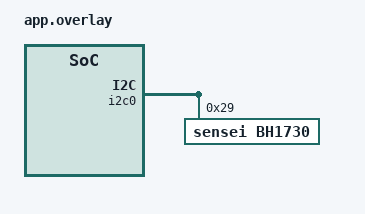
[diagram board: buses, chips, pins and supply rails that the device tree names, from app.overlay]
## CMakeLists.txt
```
# SPDX-FileCopyrightText: 2026 ETH Zurich and University of Bologna
# SPDX-License-Identifier: Apache-2.0
#
# Authors:
# - Philip Wiese <wiesep@iis.ee.ethz.ch>

cmake_minimum_required(VERSION 3.20.0)

find_package(Zephyr REQUIRED HINTS $ENV{ZEPHYR_BASE})
project(sensei_bh1730_test)

target_sources(app PRIVATE src/main.c src/emul_bh1730.c)
target_include_directories(app PRIVATE src)
```

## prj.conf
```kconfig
# SPDX-FileCopyrightText: 2026 ETH Zurich and University of Bologna
# SPDX-License-Identifier: Apache-2.0

CONFIG_ZTEST=y
CONFIG_I2C=y
CONFIG_I2C_EMUL=y
CONFIG_EMUL=y
CONFIG_SENSOR=y
CONFIG_PM_DEVICE=y
CONFIG_PM_DEVICE_RUNTIME=y
CONFIG_BH1730_SENSEI=y
```

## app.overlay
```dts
/*
 * SPDX-FileCopyrightText: 2026 ETH Zurich and University of Bologna
 * SPDX-License-Identifier: Apache-2.0
 *
 * Authors:
 * - Philip Wiese <wiesep@iis.ee.ethz.ch>
 */

/* The BH1730 as on the sensor shield: address 0x29, gain x64, integration time 51 ms, no rail switch. */

&i2c0 {
	bh1730: bh1730@29 {
		compatible = "sensei,bh1730";
		reg = <0x29>;
		gain = <2>;
		itime = <0xED>;
	};
};
```

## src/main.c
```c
/*
 * SPDX-FileCopyrightText: 2026 ETH Zurich and University of Bologna
 * SPDX-License-Identifier: Apache-2.0
 *
 * Authors:
 * - Philip Wiese <wiesep@iis.ee.ethz.ch>
 */

/* BH1730 driver (NRF/drivers/sensor/bh1730) against the I2C emulator in emul_bh1730.c: sensor API, split API,
 * lux conversion against the datasheet formula, power-down between measurements, probe and re-probe.
 *
 * The driver keeps some state for good (chip found), so the tests run in name order and the first ones need a
 * driver that has not found the chip yet. */

#include <zephyr/device.h>
#include <zephyr/drivers/i2c.h>
#include <zephyr/drivers/sensor.h>
#include <zephyr/kernel.h>
#include <zephyr/pm/device_runtime.h>
#include <zephyr/ztest.h>

#include <sensei/drivers/bh1730.h>

#include "emul_bh1730.h"

#define ITIME 0xED /* devicetree: 51 ms */
#define GAIN_X 64  /* devicetree gain = 2 */

static const struct device *const dev = DEVICE_DT_GET(DT_NODELABEL(bh1730));
static struct bh1730_emul *em;

static void *setup(void) {
  em = bh1730_emul_get();
  zassert_true(device_is_ready(dev));
  return NULL;
}

static void before(void *f) {
  ARG_UNUSED(f);
  bh1730_emul_reset();
}

/* Every test ends with the sensor in power down (POWER bit 0). */
static void after(void *f) {
  ARG_UNUSED(f);
  zassert_equal(bh1730_emul_control() & 0x01, 0, "POWER bit cleared at the end of a test");
}

/* Lux as the datasheet (page 13) computes it, floating point. */
static double ds_lux(uint16_t d0, uint16_t d1, int gain, int itime) {
  double itime_ms = 2.8e-3 * 964 * (256 - itime);
  double r = d0 ? (double)d1 / d0 : 9;
  double x;

  if (d0 == 0) {
    return 0;
  }
  if (r < 0.26) {
    x = 1.290 * d0 - 2.733 * d1;
  } else if (r < 0.55) {
    x = 0.795 * d0 - 0.859 * d1;
  } else if (r < 1.09) {
    x = 0.510 * d0 - 0.345 * d1;
  } else if (r < 2.13) {
    x = 0.276 * d0 - 0.130 * d1;
  } else {
    return 0;
  }
  return x > 0 ? x / gain * 102.6 / itime_ms : 0;
}

/* The emulator itself: it follows the datasheet. (Raw I2C, not the driver.) */
ZTEST(sensei_bh1730, test_00_emulator_self_check) {
  const struct device *i2c = DEVICE_DT_GET(DT_NODELABEL(i2c0));
  uint8_t id = 0, buf[4], one = 0;
  const uint8_t cmd_ctl_write[2] = {0x80, 0x0B}; /* COMMAND = CONTROL, then CONTROL = POWER | ADC_EN | ONE_TIME */
  const uint8_t cmd_data[1] = {0x94};            /* COMMAND = DATA0LOW (datasheet page 12) */
  const uint8_t bad_cmd[1] = {0x08};             /* CMD bit 7 not set */
  const uint8_t bad_addr[1] = {0x8A};            /* register 0x0A does not exist */
  const uint8_t id_cmd[1] = {0x92};
  uint32_t tmt = bh1730_emul_meas_us(0xDA);

  zassert_within(tmt, 104600, 3000, "datasheet table: 104.6 ms typical for ITIME 0xDA");
  zassert_equal(i2c_write_read(i2c, 0x29, id_cmd, 1, &id, 1), 0);
  zassert_equal(id & 0xF0, 0x70, "part number 0111");
  zassert_not_equal(i2c_write(i2c, bad_cmd, 1, 0x29), 0);
  zassert_not_equal(i2c_write(i2c, bad_addr, 1, 0x29), 0);
  zassert_not_equal(i2c_write(i2c, bad_cmd, 1, 0x30), 0, "wrong address");

  zassert_equal(i2c_write(i2c, cmd_ctl_write, 2, 0x29), 0);
  em->data0 = 0x1234;
  em->data1 = 0x0567;
  zassert_equal(bh1730_emul_control() & 0x10, 0, "ADC_VALID is not set before the measurement time is over");
  k_msleep(1000);
  zassert_equal(bh1730_emul_control(), 0x18, "one time: POWER and ADC_EN off, ONE_TIME kept, data valid");
  zassert_equal(i2c_write_read(i2c, 0x29, cmd_data, 1, buf, 4), 0);
  zassert_equal(buf[0], 0x34);
  zassert_equal(buf[1], 0x12);
  zassert_equal(buf[2], 0x67);
  zassert_equal(buf[3], 0x05);
  zassert_equal(bh1730_emul_control() & 0x10, 0, "reading the data clears ADC_VALID");
  zassert_equal(i2c_write(i2c, (const uint8_t[]){0xE4}, 1, 0x29), 0, "software reset");
  zassert_equal(i2c_write_read(i2c, 0x29, (const uint8_t[]){0x81}, 1, &one, 1), 0);
  zassert_equal(one, 0xDA, "TIMING is back to its default");
}

ZTEST(sensei_bh1730, test_01_no_bus_traffic_at_boot) { zassert_equal(em->transfers, 0); }

/* No chip: probe fails and the next try asks again. */
ZTEST(sensei_bh1730, test_02_probe_without_chip) {
  em->present = false;
  zassert_equal(sensei_bh1730_probe(dev), -ENODEV);
  zassert_true(em->transfers > 0);

  int n = em->transfers;

  zassert_equal(pm_device_runtime_get(dev), -ENODEV);
  zassert_true(em->transfers > n, "asked again");
  zassert_equal(sensor_sample_fetch(dev), -ENODEV);
}

/* Something answers, but it is no BH1730 (part number is not 0111). */
ZTEST(sensei_bh1730, test_03_probe_wrong_id) {
  em->part_id = 0x1B;
  zassert_equal(sensei_bh1730_probe(dev), -ENODEV);
}

/* The chip shows up later: found without a reboot, and left in power down. */
ZTEST(sensei_bh1730, test_04_reprobe_finds_chip) {
  em->reg[0] = 0x01; /* it was on */
  zassert_equal(sensei_bh1730_probe(dev), 0);
  zassert_equal(em->reg[0] & 0x01, 0);
  zassert_equal(em->measurements, 0);
}

/* Once found, a second probe does not touch the bus. */
ZTEST(sensei_bh1730, test_05_probe_result_is_kept) {
  zassert_equal(sensei_bh1730_probe(dev), 0);
  zassert_equal(em->transfers, 0);
}

ZTEST(sensei_bh1730, test_06_split_api_needs_power) {
  zassert_equal(sensei_bh1730_start(dev), -ENOTCONN);
  zassert_equal(sensei_bh1730_fetch(dev), -ENOTCONN);
  zassert_equal(em->transfers, 0);
}

/* sensor_sample_fetch: power on, gain and integration time from the devicetree, one-time measurement, read, power
 * down. The lux value is within 3 % of the datasheet formula (the driver library rounds 102.6 to 100). */
ZTEST(sensei_bh1730, test_07_sample_fetch_and_convert) {
  struct sensor_value v;
  double want;

  em->data0 = 1000;
  em->data1 = 200;
  zassert_equal(sensor_sample_fetch(dev), 0);
  zassert_equal(em->measurements, 1);
  zassert_equal(em->reg[0x01], ITIME);
  zassert_equal(em->reg[0x07], 2);
  zassert_equal(em->reg[0x00] & 0x0F, 0x00, "power down at the end");
  /* the control write of the start: POWER | ADC_EN | ONE_TIME */
  bool seen = false;

  for (int i = 0; i < em->n_writes; i++) {
    seen |= em->writes[i] == 0x000B;
  }
  zassert_true(seen, "CONTROL = 0x0B (POWER, ADC_EN, ONE_TIME)");

  zassert_equal(sensor_channel_get(dev, SENSEI_BH1730_CHAN_VIS_RAW, &v), 0);
  zassert_equal(v.val1, 1000);
  zassert_equal(sensor_channel_get(dev, SENSEI_BH1730_CHAN_IR_RAW, &v), 0);
  zassert_equal(v.val1, 200);
  zassert_equal(sensor_channel_get(dev, SENSOR_CHAN_LIGHT, &v), 0);
  want = ds_lux(1000, 200, GAIN_X, ITIME);
  zassert_within((double)v.val1, want, want * 0.03 + 1, "lux %d, datasheet %d", v.val1, (int)want);
  zassert_true(v.val1 > 0);
}

/* The branches of the lux formula (ratio of the two channels): 0.26, 0.55, 1.09 and 2.13 are the limits. */
ZTEST(sensei_bh1730, test_08_lux_ratio_branches) {
  static const struct {
    uint16_t d0, d1;
  } c[] = {
      {20000, 1000},  /* < 0.26 */
      {20000, 8000},  /* < 0.55 */
      {20000, 16000}, /* < 1.09 */
      {20000, 30000}, /* < 2.13 */
      {20000, 42500}, /* 2.125: the last branch is slightly negative, 0 lx */
      {20000, 50000}, /* >= 2.13: 0 lx */
      {0, 0},         /* dark */
      {0, 100},
  };
  struct sensor_value v;

  for (size_t i = 0; i < ARRAY_SIZE(c); i++) {
    double want = ds_lux(c[i].d0, c[i].d1, GAIN_X, ITIME);

    em->data0 = c[i].d0;
    em->data1 = c[i].d1;
    zassert_equal(sensor_sample_fetch(dev), 0);
    zassert_equal(sensor_channel_get(dev, SENSOR_CHAN_LIGHT, &v), 0);
    zassert_within((double)v.val1, want, want * 0.03 + 1, "case %d: lux %d, datasheet %d", (int)i, v.val1, (int)want);
  }
}

/* Bright light at gain x64: counts above about 33000 must not overflow the lux calculation. */
ZTEST(sensei_bh1730, test_09_bright_light) {
  struct sensor_value v;
  double want = ds_lux(40000, 2000, GAIN_X, ITIME);

  em->data0 = 40000;
  em->data1 = 2000;
  zassert_equal(sensor_sample_fetch(dev), 0);
  zassert_equal(sensor_channel_get(dev, SENSOR_CHAN_LIGHT, &v), 0);
  zassert_within((double)v.val1, want, want * 0.03 + 1, "lux %d, datasheet %d", v.val1, (int)want);

  em->data0 = 65535;
  em->data1 = 0;
  want = ds_lux(65535, 0, GAIN_X, ITIME);
  zassert_equal(sensor_sample_fetch(dev), 0);
  zassert_equal(sensor_channel_get(dev, SENSOR_CHAN_LIGHT, &v), 0);
  zassert_within((double)v.val1, want, want * 0.03 + 1, "lux %d, datasheet %d", v.val1, (int)want);
}

/* Split API: the POWER bit follows the reference, start returns the wait, the result is not there before. */
ZTEST(sensei_bh1730, test_10_split_api_timing) {
  struct sensor_value v;
  int ms;

  em->data0 = 500;
  em->data1 = 100;
  zassert_equal(pm_device_runtime_get(dev), 0);
  zassert_equal(em->reg[0] & 0x01, 0x01, "POWER set");
  ms = sensei_bh1730_start(dev);
  zassert_true(ms >= (int)(bh1730_emul_meas_us(ITIME) / 1000), "start() returns %d ms, the sensor needs %d", ms,
               (int)(bh1730_emul_meas_us(ITIME) / 1000));
  zassert_equal(sensei_bh1730_fetch(dev), -EBUSY);
  k_msleep(ms);
  zassert_equal(sensei_bh1730_fetch(dev), 0);
  zassert_equal(sensor_channel_get(dev, SENSEI_BH1730_CHAN_VIS_RAW, &v), 0);
  zassert_equal(v.val1, 500);
  /* the read cleared ADC_VALID: there is nothing new */
  zassert_equal(sensei_bh1730_fetch(dev), -EBUSY);
  zassert_equal(pm_device_runtime_put(dev), 0);
  zassert_equal(em->reg[0] & 0x01, 0x00, "POWER cleared");
}

ZTEST(sensei_bh1730, test_11_unsupported_channels) {
  struct sensor_value v;

  zassert_equal(sensor_sample_fetch_chan(dev, SENSOR_CHAN_PRESS), -ENOTSUP);
  zassert_equal(em->transfers, 0);
  zassert_equal(sensor_channel_get(dev, SENSOR_CHAN_PRESS, &v), -ENOTSUP);
  zassert_equal(sensor_sample_fetch_chan(dev, SENSEI_BH1730_CHAN_IR_RAW), 0);
}

ZTEST(sensei_bh1730, test_12_bus_error) {
  zassert_equal(pm_device_runtime_get(dev), 0);
  zassert_true(sensei_bh1730_start(dev) > 0);
  k_msleep(200);
  em->fail_after = em->transfers;
  zassert_equal(sensei_bh1730_fetch(dev), -EIO);
  zassert_equal(sensei_bh1730_start(dev), -EIO);
  em->fail_after = -1;
  zassert_equal(sensei_bh1730_fetch(dev), 0);
  zassert_equal(pm_device_runtime_put(dev), 0);
}

/* A measurement that never ends: timeout, and the sensor is powered down again. */
ZTEST(sensei_bh1730, test_13_timeout) {
  em->never_valid = true;
  zassert_equal(sensor_sample_fetch(dev), -ETIMEDOUT);
}

ZTEST_SUITE(sensei_bh1730, NULL, setup, before, after, NULL);
```

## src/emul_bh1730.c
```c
/*
 * SPDX-FileCopyrightText: 2026 ETH Zurich and University of Bologna
 * SPDX-License-Identifier: Apache-2.0
 *
 * Authors:
 * - Philip Wiese <wiesep@iis.ee.ethz.ch>
 */

/* I2C emulator of the ROHM BH1730FVC (address 0x29), for the driver "sensei,bh1730".
 *
 * Follows the ROHM datasheet TSZ02201-0M3M0F616050-1-2, Rev.001 (8 Jun 2016): page 7 measurement procedure
 * (power down after power supply; POWER and ADC_EN start a measurement; ONE_TIME ends it in power down),
 * page 8 command set (COMMAND byte: bit 7 = 1, bits 6:5 = 00 register address, 11 special command; invalid
 * addresses must not be used) and register addresses, page 9 CONTROL and TIMING (integration time
 * ITIME_ms = Tint * 964 * (256 - ITIME), measurement time Tmt = ITIME_ms + Tint * 714, Tint = 2.8 us typical),
 * page 10 INTERRUPT, thresholds and GAIN, page 11 PART_ID (0111xxxx) and data registers, page 12 measurement
 * sequence (COMMAND, then CONTROL; COMMAND with the address of DATA0LOW, then four bytes).
 * Registers are read and written with the address counting up after every byte (the sequence on page 12).
 * Modelled: ADC_VALID is set when the measurement time is over and cleared when a data register is read; with
 * ONE_TIME the sensor goes to power down after the measurement (POWER and ADC_EN read back 0; the data stay
 * readable: an interpretation of "ADC transits to power down automatically"); the software reset special command
 * (COMMAND 0xE4). The result registers hold DATA0 and DATA1 from the test controls at the end of a measurement.
 * Not modelled: interrupt function, manual integration mode (ITIME 0), continuous mode restarts. */

#define DT_DRV_COMPAT sensei_bh1730

#include <errno.h>
#include <string.h>
#include <zephyr/device.h>
#include <zephyr/drivers/emul.h>
#include <zephyr/drivers/i2c.h>
#include <zephyr/drivers/i2c_emul.h>
#include <zephyr/kernel.h>

#include "emul_bh1730.h"

BUILD_ASSERT(DT_NUM_INST_STATUS_OKAY(DT_DRV_COMPAT) == 1, "one BH1730 node");

#define REG_CONTROL 0x00
#define REG_TIMING 0x01
#define REG_GAIN 0x07
#define REG_ID 0x12
#define REG_DATA0LOW 0x14
#define REG_DATA1HIGH 0x17
#define CTL_POWER 0x01
#define CTL_ADC_EN 0x02
#define CTL_ONE_TIME 0x08
#define CTL_VALID 0x10
#define TINT_NS 2800

static struct bh1730_emul st;
static uint8_t cur; /* register address of the next byte (counts up) */
static bool measuring;
static int64_t done_at_us;
static bool valid; /* ADC_VALID */
static uint16_t result0, result1;

struct bh1730_emul *bh1730_emul_get(void) { return &st; }

static int64_t now_us(void) { return k_ticks_to_us_floor64(k_uptime_ticks()); }

uint32_t bh1730_emul_meas_us(uint8_t itime) {
  uint64_t itime_ns = (uint64_t)TINT_NS * 964 * (256 - itime);

  return (uint32_t)((itime_ns + (uint64_t)TINT_NS * 714) / 1000);
}

static void regs_reset(void) {
  memset(st.reg, 0, sizeof(st.reg));
  st.reg[REG_TIMING] = 0xDA;
  st.reg[0x05] = 0xFF;
  st.reg[0x06] = 0xFF;
  measuring = false;
  valid = false;
  result0 = result1 = 0;
  cur = 0;
}

void bh1730_emul_reset(void) {
  memset(&st, 0, sizeof(st));
  st.present = true;
  st.part_id = 0x7B;
  st.fail_after = -1;
  regs_reset();
}

/* Finish a measurement whose time is over. */
static void settle(void) {
  if (measuring && !st.never_valid && now_us() >= done_at_us) {
    measuring = false;
    valid = true;
    result0 = st.data0;
    result1 = st.data1;
    if (st.reg[REG_CONTROL] & CTL_ONE_TIME) {
      st.reg[REG_CONTROL] &= (uint8_t)~(CTL_POWER | CTL_ADC_EN);
    }
  }
}

uint8_t bh1730_emul_control(void) {
  settle();
  return (uint8_t)((st.reg[REG_CONTROL] & 0x0F) | (valid ? CTL_VALID : 0));
}

static bool valid_addr(uint8_t a) { return a <= REG_GAIN || a == REG_ID || (a >= REG_DATA0LOW && a <= REG_DATA1HIGH); }

static void log_write(uint8_t reg, uint8_t val) {
  if (st.n_writes < BH1730_EMUL_LOG_LEN) {
    st.writes[st.n_writes++] = (reg << 8) | val;
  }
}

static void write_reg(uint8_t reg, uint8_t val) {
  log_write(reg, val);
  if (reg == REG_ID || (reg >= REG_DATA0LOW && reg <= REG_DATA1HIGH)) {
    return; /* read only */
  }
  if (reg == REG_CONTROL) {
    settle();
    st.reg[REG_CONTROL] = val & 0x0F; /* ADC_INTR and ADC_VALID are read only */
    if ((val & CTL_POWER) && (val & CTL_ADC_EN)) {
      if (!measuring) {
        measuring = true;
        valid = false;
        st.measurements++;
        done_at_us = now_us() + bh1730_emul_meas_us(st.reg[REG_TIMING]);
      }
    } else if (!(val & CTL_POWER)) {
      measuring = false;
    }
    return;
  }
  st.reg[reg] = val;
}

static uint8_t read_reg(uint8_t reg) {
  settle();
  switch (reg) {
  case REG_CONTROL:
    return bh1730_emul_control();
  case REG_ID:
    return st.part_id;
  case REG_DATA0LOW:
    return (uint8_t)result0;
  case REG_DATA0LOW + 1:
    valid = false;
    return (uint8_t)(result0 >> 8);
  case REG_DATA0LOW + 2:
    return (uint8_t)result1;
  case REG_DATA1HIGH:
    valid = false;
    return (uint8_t)(result1 >> 8);
  default:
    return st.reg[reg];
  }
}

static int nack(void) {
  st.nacks++;
  return -EIO;
}

static int do_write(const uint8_t *buf, size_t len, bool first) {
  size_t i = 0;

  if (first) {
    uint8_t c = buf[0];

    if (len == 0 || !(c & 0x80)) {
      return nack();
    }
    if (((c >> 5) & 3) == 3) { /* special command */
      if ((c & 0x1F) == 0x04) {
        regs_reset();
        return len == 1 ? 0 : nack();
      }
      return nack(); /* the others belong to modes that are not modelled */
    }
    if (((c >> 5) & 3) != 0 || !valid_addr(c & 0x1F)) {
      return nack();
    }
    cur = c & 0x1F;
    i = 1;
  }
  for (; i < len; i++) {
    if (!valid_addr(cur)) {
      return nack();
    }
    write_reg(cur++, buf[i]);
  }
  return 0;
}

static int do_read(uint8_t *buf, size_t len) {
  for (size_t i = 0; i < len; i++) {
    if (!valid_addr(cur)) {
      return nack();
    }
    buf[i] = read_reg(cur++);
  }
  return 0;
}

static int bh1730_emul_transfer(const struct emul *target, struct i2c_msg *msgs, int num_msgs, int addr) {
  ARG_UNUSED(target);
  st.transfers++;
  if (!st.present || addr != DT_INST_REG_ADDR(0)) {
    return nack();
  }
  if (st.fail_after >= 0 && st.transfers > st.fail_after) {
    return nack();
  }
  for (int i = 0; i < num_msgs; i++) {
    int ret;

    if (msgs[i].flags & I2C_MSG_READ) {
      ret = do_read(msgs[i].buf, msgs[i].len);
    } else {
      /* the first write message of a transfer starts with the COMMAND byte */
      ret = do_write(msgs[i].buf, msgs[i].len, i == 0 || (msgs[i - 1].flags & I2C_MSG_READ));
    }
    if (ret != 0) {
      return ret;
    }
  }
  return 0;
}

static const struct i2c_emul_api bh1730_emul_api = {
    .transfer = bh1730_emul_transfer,
};

static int bh1730_emul_init(const struct emul *target, const struct device *parent) {
  ARG_UNUSED(target);
  ARG_UNUSED(parent);
  bh1730_emul_reset();
  return 0;
}

#define BH1730_EMUL(n) EMUL_DT_INST_DEFINE(n, bh1730_emul_init, NULL, NULL, &bh1730_emul_api, NULL)

DT_INST_FOREACH_STATUS_OKAY(BH1730_EMUL)
```

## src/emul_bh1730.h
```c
/*
 * SPDX-FileCopyrightText: 2026 ETH Zurich and University of Bologna
 * SPDX-License-Identifier: Apache-2.0
 *
 * Authors:
 * - Philip Wiese <wiesep@iis.ee.ethz.ch>
 */

#ifndef SENSEI_TEST_EMUL_BH1730_H_
#define SENSEI_TEST_EMUL_BH1730_H_

#include <stdbool.h>
#include <stdint.h>

#define BH1730_EMUL_LOG_LEN 64

struct bh1730_emul {
  /* Test controls */
  bool present;    /* false: the chip does not answer (no ACK) */
  uint8_t part_id; /* register 0x12, 0x7B on a real chip (part number 0111, revision does not matter) */
  uint16_t data0;  /* result of the next measurement: visible + IR channel (Type0) and IR channel (Type1) */
  uint16_t data1;
  bool never_valid; /* a measurement never finishes */
  int fail_after;   /* NACK every transfer after this many (-1: never) */

  /* Observations */
  int transfers;
  int nacks;
  int measurements;                /* started */
  int writes[BH1730_EMUL_LOG_LEN]; /* register writes: (register << 8) | value, in order */
  int n_writes;
  uint8_t reg[0x18]; /* register file (CONTROL bits 4 and 5, ID and data registers are computed on a read) */
};

struct bh1730_emul *bh1730_emul_get(void);

/* Registers at their reset values (power-down), present, 0x7B, no data. Clears the log and the counters. */
void bh1730_emul_reset(void);

/* CONTROL register as a read would show it now. */
uint8_t bh1730_emul_control(void);

/* Measurement time (datasheet: ITIME_ms = Tint * 964 * (256 - ITIME), Tmt = ITIME_ms + Tint * 714, Tint 2.8 us), us. */
uint32_t bh1730_emul_meas_us(uint8_t itime);

#endif /* SENSEI_TEST_EMUL_BH1730_H_ */
```
